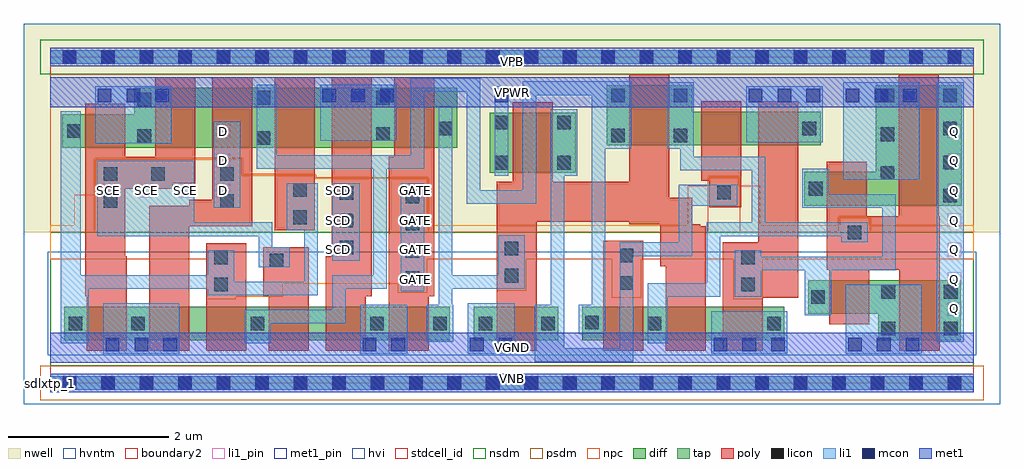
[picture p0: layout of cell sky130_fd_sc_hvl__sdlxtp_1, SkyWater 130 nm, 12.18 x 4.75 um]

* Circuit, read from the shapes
.subckt sky130_fd_sc_hvl__sdlxtp_1 D GATE Q SCD SCE VGND VNB VPB VPWR
XM1 VGND SCE n1 VNB sky130_fd_pr__nfet_g5v0d10v5 w=0.42 l=0.5
XM2 n2 D VGND VNB sky130_fd_pr__nfet_g5v0d10v5 w=0.42 l=0.5
XM3 n3 n1 n2 VNB sky130_fd_pr__nfet_g5v0d10v5 w=0.42 l=0.5
XM4 n4 SCE n3 VNB sky130_fd_pr__nfet_g5v0d10v5 w=0.42 l=0.5
XM5 VGND SCD n4 VNB sky130_fd_pr__nfet_g5v0d10v5 w=0.42 l=0.5
XM6 n5 GATE VGND VNB sky130_fd_pr__nfet_g5v0d10v5 w=0.42 l=0.5
XM7 n6 n5 VGND VNB sky130_fd_pr__nfet_g5v0d10v5 w=0.42 l=0.5
XM8 n7 n6 n3 VNB sky130_fd_pr__nfet_g5v0d10v5 w=0.42 l=0.5
XM9 n8 n5 n7 VNB sky130_fd_pr__nfet_g5v0d10v5 w=0.42 l=0.5
XM10 VGND n9 n8 VNB sky130_fd_pr__nfet_g5v0d10v5 w=0.42 l=0.5
XM11 VGND n7 n9 VNB sky130_fd_pr__nfet_g5v0d10v5 w=0.42 l=0.5
XM12 Q n7 VGND VNB sky130_fd_pr__nfet_g5v0d10v5 w=0.75 l=0.5
XM13 VPWR SCE n1 VPB sky130_fd_pr__pfet_g5v0d10v5 w=0.42 l=0.5
XM14 n10 SCE VPWR VPB sky130_fd_pr__pfet_g5v0d10v5 w=0.75 l=0.5
XM15 n3 D n10 VPB sky130_fd_pr__pfet_g5v0d10v5 w=0.75 l=0.5
XM16 n11 n1 n3 VPB sky130_fd_pr__pfet_g5v0d10v5 w=0.75 l=0.5
XM17 VPWR SCD n11 VPB sky130_fd_pr__pfet_g5v0d10v5 w=0.75 l=0.5
XM18 n5 GATE VPWR VPB sky130_fd_pr__pfet_g5v0d10v5 w=0.75 l=0.5
XM19 n6 n5 VPWR VPB sky130_fd_pr__pfet_g5v0d10v5 w=0.75 l=0.5
XM20 n7 n5 n3 VPB sky130_fd_pr__pfet_g5v0d10v5 w=0.75 l=0.5
XM21 n12 n6 n7 VPB sky130_fd_pr__pfet_g5v0d10v5 w=0.42 l=0.5
XM22 VPWR n9 n12 VPB sky130_fd_pr__pfet_g5v0d10v5 w=0.42 l=0.5
XM23 VPWR n7 n9 VPB sky130_fd_pr__pfet_g5v0d10v5 w=0.42 l=0.5
XM24 Q n7 VPWR VPB sky130_fd_pr__pfet_g5v0d10v5 w=1.5 l=0.5
.ends

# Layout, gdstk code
import gdstk
lib = gdstk.Library(unit=1e-6, precision=1e-09)
def R(c, l, rs):  # rectangles x0, y0, x1, y1
    for r in rs: c.add(gdstk.rectangle(r[:2], r[2:], *l))
def A(c, l, x, y, w, h, nx, ny, dx, dy):  # array of equal rectangles
    R(c, l, [(x+i*dx, y+j*dy, x+i*dx+w, y+j*dy+h) for i in range(nx) for j in range(ny)])
def P(c, l, *ps):  # polygons
    for p in ps: c.add(gdstk.Polygon(p, *l))
nwell = (64, 20)
diff = (65, 20)
tap = (65, 44)
poly = (66, 20)
licon = (66, 44)
li1_pin = (67, 16)
li1 = (67, 20)
mcon = (67, 44)
met1_pin = (68, 16)
met1 = (68, 20)
hvi = (75, 20)
stdcell_id = (81, 4)
nsdm = (93, 44)
psdm = (94, 20)
npc = (95, 20)
hvntm = (125, 20)
boundary2 = (236, 0)

sky130_fd_sc_hvl__sdlxtp = lib.new_cell('sky130_fd_sc_hvl__sdlxtp_1')
R(sky130_fd_sc_hvl__sdlxtp, nwell, [(-0.33,1.885,11.85,4.485)])
R(sky130_fd_sc_hvl__sdlxtp, diff, [(0.17,0.535,4.985,0.955), (5.285,0.535,6.335,0.955), (6.635,0.535,9.155,0.955), (5.485,2.625,6.555,3.375)])
P(sky130_fd_sc_hvl__sdlxtp, diff, [(5.075,3.685),(1.045,3.685),(1.045,3.355),(0.15,3.355),(0.15,2.935),(5.075,2.935)],
  [(9.615,3.385),(8.01,3.385),(8.01,3.715),(6.94,3.715),(6.94,2.965),(9.615,2.965)],
  [(11.36,1.285),(9.455,1.285),(9.455,0.865),(10.33,0.865),(10.33,0.535),(11.36,0.535)],
  [(11.37,3.715),(10.3,3.715),(10.3,2.635),(9.405,2.635),(9.405,2.215),(11.37,2.215)])
R(sky130_fd_sc_hvl__sdlxtp, tap, [(0,-0.085,11.52,0.085), (0,3.985,11.52,4.155)])
R(sky130_fd_sc_hvl__sdlxtp, poly, [(1.945,0.405,2.445,1.745), (6.9,0.405,7.4,1.775), (2.8,1.905,3.3,3.815)])
P(sky130_fd_sc_hvl__sdlxtp, poly, [(1.81,3.815),(1.31,3.815),(1.31,2.825),(0.935,2.825),(0.935,3.485),(0.435,3.485),(0.435,1.085),(0.455,1.085),(0.455,0.405),(0.955,0.405),(0.955,1.585),(0.935,1.585),(0.935,2.425),(1.525,2.425),(1.525,2.495),(1.81,2.495)],
  [(2.52,3.815),(2.02,3.815),(2.02,2.285),(1.735,2.285),(1.735,2.215),(1.235,2.215),(1.235,0.405),(1.735,0.405),(1.735,1.955),(2.52,1.955)],
  [(3.225,1.695),(2.655,1.695),(2.655,1.085),(2.725,1.085),(2.725,0.405),(3.225,0.405)],
  [(4.01,3.815),(3.51,3.815),(3.51,1.585),(3.435,1.585),(3.435,0.405),(3.935,0.405),(3.935,1.085),(4.01,1.085)],
  [(4.79,3.815),(4.29,3.815),(4.29,2.825),(4.22,2.825),(4.22,0.405),(4.72,0.405),(4.72,1.085),(4.79,1.085)],
  [(8.18,1.955),(8.11,1.955),(8.11,1.985),(8.01,1.985),(8.01,2.315),(7.725,2.315),(7.725,3.845),(7.225,3.845),(7.225,2.515),(6.27,2.515),(6.27,3.505),(5.77,3.505),(5.77,2.515),(5.57,2.515),(5.57,0.405),(6.07,0.405),(6.07,2.015),(7.225,2.015),(7.225,1.985),(7.61,1.985),(7.61,1.455),(7.68,1.455),(7.68,0.405),(8.18,0.405)],
  [(8.62,3.515),(8.12,3.515),(8.12,2.525),(8.22,2.525),(8.22,2.195),(8.62,2.195)],
  [(9.33,3.515),(8.83,3.515),(8.83,1.755),(8.39,1.755),(8.39,0.405),(8.89,0.405),(8.89,1.065),(9.33,1.065)],
  [(11.095,2.085),(11.085,2.085),(11.085,3.845),(10.585,3.845),(10.585,2.085),(10.19,2.085),(10.19,2.765),(9.69,2.765),(9.69,1.415),(9.72,1.415),(9.72,0.735),(10.22,0.735),(10.22,1.415),(10.595,1.415),(10.595,0.405),(11.095,0.405)])
A(sky130_fd_sc_hvl__sdlxtp, licon, 0.155, -0.085, 0.17, 0.17, 24, 2, 0.48, 4.07)
A(sky130_fd_sc_hvl__sdlxtp, licon, 1.01, 0.66, 0.17, 0.17, 3, 1, 1.49, 0)
A(sky130_fd_sc_hvl__sdlxtp, licon, 4.435, 1.225, 0.17, 0.17, 1, 4, 0, 0.34)
A(sky130_fd_sc_hvl__sdlxtp, licon, 3.61, 1.605, 0.17, 0.17, 1, 3, 0, 0.34)
A(sky130_fd_sc_hvl__sdlxtp, licon, 10.36, 2.535, 0.17, 0.17, 1, 3, 0, 0.485)
R(sky130_fd_sc_hvl__sdlxtp, licon, [(10.37,0.595,10.54,0.765), (11.15,0.595,11.32,0.765), (0.23,0.66,0.4,0.83), (4.775,0.66,4.945,0.83), (5.345,0.66,5.515,0.83), (6.125,0.66,6.295,0.83), (7.455,0.66,7.625,0.83), (8.945,0.66,9.115,0.83), (6.675,0.67,6.845,0.84), (9.495,0.99,9.665,1.16), (10.37,1.055,10.54,1.225), (11.15,1.055,11.32,1.225), (2.045,1.145,2.215,1.315), (8.62,1.145,8.79,1.315), (7.105,1.165,7.275,1.335), (5.67,1.255,5.84,1.425), (2.735,1.445,2.905,1.615), (2.045,1.485,2.215,1.655), (8.62,1.485,8.79,1.655), (7.105,1.505,7.275,1.675), (5.67,1.595,5.84,1.765), (9.95,1.795,10.12,1.965), (3.03,1.985,3.2,2.155), (0.665,2.185,0.835,2.355), (2.12,2.185,2.29,2.355), (11.14,2.255,11.31,2.425), (8.32,2.295,8.49,2.465), (3.03,2.325,3.2,2.495), (9.465,2.34,9.635,2.51), (0.665,2.525,0.835,2.695), (1.255,2.525,1.425,2.695), (2.12,2.525,2.29,2.695), (5.545,2.665,5.715,2.835), (6.325,2.665,6.495,2.835), (11.14,2.67,11.31,2.84), (2.575,2.975,2.745,3.145), (1.085,2.995,1.255,3.165), (7,3.005,7.17,3.175), (7.78,3.005,7.95,3.175), (4.065,3.025,4.235,3.195), (0.21,3.06,0.38,3.23), (4.845,3.09,5.015,3.26), (9.385,3.09,9.555,3.26), (11.14,3.09,11.31,3.26), (5.545,3.165,5.715,3.335), (6.325,3.165,6.495,3.335), (1.085,3.455,1.255,3.625), (2.575,3.475,2.745,3.645), (4.065,3.475,4.235,3.645), (7,3.505,7.17,3.675), (7.78,3.505,7.95,3.675), (11.14,3.505,11.31,3.675)])
A(sky130_fd_sc_hvl__sdlxtp, li1_pin, 11.195, 0.84, 0.17, 0.17, 1, 7, 0, 0.37)
A(sky130_fd_sc_hvl__sdlxtp, li1_pin, 4.475, 1.21, 0.17, 0.17, 1, 4, 0, 0.37)
A(sky130_fd_sc_hvl__sdlxtp, li1_pin, 3.515, 1.58, 0.17, 0.17, 1, 3, 0, 0.37)
A(sky130_fd_sc_hvl__sdlxtp, li1_pin, 0.635, 2.32, 0.17, 0.17, 4, 1, 0.48, 0)
R(sky130_fd_sc_hvl__sdlxtp, li1_pin, [(2.075,2.69,2.245,2.86), (2.075,3.06,2.245,3.23)])
R(sky130_fd_sc_hvl__sdlxtp, li1, [(0,-0.085,11.52,0.085), (0.66,0.365,1.61,0.995), (3.865,0.365,4.455,0.975), (5.205,0.365,5.795,0.995), (8.245,0.365,9.195,0.895), (9.925,0.365,10.875,1.225), (11.06,0.515,11.4,3.755), (4.37,1.145,4.665,2.495), (3.515,1.525,3.86,2.495), (2.04,2.185,2.37,3.26), (9.895,2.535,10.845,3.755), (5.545,2.585,5.715,3.705), (0.56,2.995,1.51,3.705), (8.685,3.005,9.635,3.705), (3.365,3.025,4.315,3.725), (0,3.985,11.52,4.155)])
P(sky130_fd_sc_hvl__sdlxtp, li1, [(2.985,1.695),(2.77,1.695),(2.77,2.005),(1.795,2.005),(1.795,2.775),(0.585,2.775),(0.585,1.835),(2.6,1.835),(2.6,1.445),(2.985,1.445)],
  [(3.335,2.495),(2.95,2.495),(2.95,1.905),(3.165,1.905),(3.165,1.265),(2.295,1.265),(2.295,1.655),(1.965,1.655),(1.965,1.345),(0.38,1.345),(0.38,3.395),(0.13,3.395),(0.13,0.495),(0.48,0.495),(0.48,1.175),(1.965,1.175),(1.965,1.095),(3.335,1.095)],
  [(5.92,1.845),(5.59,1.845),(5.59,1.345),(5.015,1.345),(5.015,3.455),(4.845,3.455),(4.845,0.975),(4.695,0.975),(4.695,0.515),(5.025,0.515),(5.025,0.975),(5.015,0.975),(5.015,1.175),(5.92,1.175)],
  [(7.25,3.765),(5.895,3.765),(5.895,2.405),(5.365,2.405),(5.365,3.805),(4.495,3.805),(4.495,2.845),(2.825,2.845),(2.825,3.725),(2.575,3.725),(2.575,2.675),(4.03,2.675),(4.03,1.345),(3.515,1.345),(3.515,0.915),(2.42,0.915),(2.42,0.495),(2.75,0.495),(2.75,0.745),(3.685,0.745),(3.685,1.175),(4.2,1.175),(4.2,2.675),(4.665,2.675),(4.665,3.635),(5.195,3.635),(5.195,2.235),(6.065,2.235),(6.065,3.595),(6.755,3.595),(6.755,0.975),(6.595,0.975),(6.595,0.615),(6.925,0.615),(6.925,2.925),(7.25,2.925)],
  [(8.57,2.475),(7.84,2.475),(7.84,1.755),(7.105,1.755),(7.105,0.435),(6.415,0.435),(6.415,2.585),(6.575,2.585),(6.575,3.415),(6.245,3.415),(6.245,0.975),(6.045,0.975),(6.045,0.265),(7.275,0.265),(7.275,1.585),(8.01,1.585),(8.01,2.215),(8.57,2.215)],
  [(10.2,2.005),(8.92,2.005),(8.92,2.825),(8.03,2.825),(8.03,3.755),(7.7,3.755),(7.7,2.925),(7.86,2.925),(7.86,2.655),(8.75,2.655),(8.75,2.005),(8.19,2.005),(8.19,1.245),(7.455,1.245),(7.455,0.495),(7.705,0.495),(7.705,1.075),(8.36,1.075),(8.36,1.835),(9.87,1.835),(9.87,1.755),(10.2,1.755)],
  [(10.55,2.355),(9.715,2.355),(9.715,2.675),(9.385,2.675),(9.385,2.185),(10.38,2.185),(10.38,1.575),(8.87,1.575),(8.87,1.655),(8.54,1.655),(8.54,1.075),(8.87,1.075),(8.87,1.405),(9.415,1.405),(9.415,0.845),(9.745,0.845),(9.745,1.405),(10.55,1.405)])
A(sky130_fd_sc_hvl__sdlxtp, mcon, 0.69, 0.395, 0.17, 0.17, 3, 1, 0.36, 0)
A(sky130_fd_sc_hvl__sdlxtp, mcon, 8.275, 0.395, 0.17, 0.17, 3, 1, 0.36, 0)
A(sky130_fd_sc_hvl__sdlxtp, mcon, 9.955, 0.395, 0.17, 0.17, 3, 1, 0.36, 0)
A(sky130_fd_sc_hvl__sdlxtp, mcon, 0.59, 3.505, 0.17, 0.17, 3, 1, 0.36, 0)
A(sky130_fd_sc_hvl__sdlxtp, mcon, 3.395, 3.505, 0.17, 0.17, 3, 1, 0.36, 0)
A(sky130_fd_sc_hvl__sdlxtp, mcon, 8.715, 3.505, 0.17, 0.17, 3, 1, 0.36, 0)
A(sky130_fd_sc_hvl__sdlxtp, mcon, 9.925, 3.505, 0.17, 0.17, 3, 1, 0.36, 0)
R(sky130_fd_sc_hvl__sdlxtp, mcon, [(0.155,-0.085,0.325,0.085), (0.155,-0.085,0.325,0.085), (0.635,-0.085,0.805,0.085), (0.635,-0.085,0.805,0.085), (1.115,-0.085,1.285,0.085), (1.115,-0.085,1.285,0.085), (1.595,-0.085,1.765,0.085), (1.595,-0.085,1.765,0.085), (2.075,-0.085,2.245,0.085), (2.075,-0.085,2.245,0.085), (2.555,-0.085,2.725,0.085), (2.555,-0.085,2.725,0.085), (3.035,-0.085,3.205,0.085), (3.035,-0.085,3.205,0.085), (3.515,-0.085,3.685,0.085), (3.515,-0.085,3.685,0.085), (3.995,-0.085,4.165,0.085), (3.995,-0.085,4.165,0.085), (4.475,-0.085,4.645,0.085), (4.475,-0.085,4.645,0.085), (4.955,-0.085,5.125,0.085), (4.955,-0.085,5.125,0.085), (5.435,-0.085,5.605,0.085), (5.435,-0.085,5.605,0.085), (5.915,-0.085,6.085,0.085), (5.915,-0.085,6.085,0.085), (6.395,-0.085,6.565,0.085), (6.395,-0.085,6.565,0.085), (6.875,-0.085,7.045,0.085), (6.875,-0.085,7.045,0.085), (7.355,-0.085,7.525,0.085), (7.355,-0.085,7.525,0.085), (7.835,-0.085,8.005,0.085), (7.835,-0.085,8.005,0.085), (8.315,-0.085,8.485,0.085), (8.315,-0.085,8.485,0.085), (8.795,-0.085,8.965,0.085), (8.795,-0.085,8.965,0.085), (9.275,-0.085,9.445,0.085), (9.275,-0.085,9.445,0.085), (9.755,-0.085,9.925,0.085), (9.755,-0.085,9.925,0.085), (10.235,-0.085,10.405,0.085), (10.235,-0.085,10.405,0.085), (10.715,-0.085,10.885,0.085), (10.715,-0.085,10.885,0.085), (11.195,-0.085,11.365,0.085), (11.195,-0.085,11.365,0.085), (3.895,0.395,4.065,0.565), (4.255,0.395,4.425,0.565), (5.235,0.395,5.405,0.565), (5.595,0.395,5.765,0.565), (5.545,3.505,5.715,3.675), (0.155,3.985,0.325,4.155), (0.155,3.985,0.325,4.155), (0.635,3.985,0.805,4.155), (0.635,3.985,0.805,4.155), (1.115,3.985,1.285,4.155), (1.115,3.985,1.285,4.155), (1.595,3.985,1.765,4.155), (1.595,3.985,1.765,4.155), (2.075,3.985,2.245,4.155), (2.075,3.985,2.245,4.155), (2.555,3.985,2.725,4.155), (2.555,3.985,2.725,4.155), (3.035,3.985,3.205,4.155), (3.035,3.985,3.205,4.155), (3.515,3.985,3.685,4.155), (3.515,3.985,3.685,4.155), (3.995,3.985,4.165,4.155), (3.995,3.985,4.165,4.155), (4.475,3.985,4.645,4.155), (4.475,3.985,4.645,4.155), (4.955,3.985,5.125,4.155), (4.955,3.985,5.125,4.155), (5.435,3.985,5.605,4.155), (5.435,3.985,5.605,4.155), (5.915,3.985,6.085,4.155), (5.915,3.985,6.085,4.155), (6.395,3.985,6.565,4.155), (6.395,3.985,6.565,4.155), (6.875,3.985,7.045,4.155), (6.875,3.985,7.045,4.155), (7.355,3.985,7.525,4.155), (7.355,3.985,7.525,4.155), (7.835,3.985,8.005,4.155), (7.835,3.985,8.005,4.155), (8.315,3.985,8.485,4.155), (8.315,3.985,8.485,4.155), (8.795,3.985,8.965,4.155), (8.795,3.985,8.965,4.155), (9.275,3.985,9.445,4.155), (9.275,3.985,9.445,4.155), (9.755,3.985,9.925,4.155), (9.755,3.985,9.925,4.155), (10.235,3.985,10.405,4.155), (10.235,3.985,10.405,4.155), (10.715,3.985,10.885,4.155), (10.715,3.985,10.885,4.155), (11.195,3.985,11.365,4.155), (11.195,3.985,11.365,4.155)])
R(sky130_fd_sc_hvl__sdlxtp, met1_pin, [(0,0,11.52,0.115), (0,0.255,11.52,0.625), (0,3.445,11.52,3.815), (0,3.955,11.52,4.07)])
R(sky130_fd_sc_hvl__sdlxtp, met1, [(0,-0.115,11.52,0.115), (0,0.255,11.52,0.625), (0,3.445,11.52,3.815), (0,3.955,11.52,4.185)])
R(sky130_fd_sc_hvl__sdlxtp, hvi, [(-0.33,-0.265,11.85,4.485)])
R(sky130_fd_sc_hvl__sdlxtp, stdcell_id, [(0,0,11.52,4.07)])
R(sky130_fd_sc_hvl__sdlxtp, nsdm, [(0,0.215,11.52,1.885), (-0.13,3.855,11.65,4.285), (0,3.855,11.52,4.07)])
R(sky130_fd_sc_hvl__sdlxtp, psdm, [(-0.13,-0.215,11.65,0.215)])
P(sky130_fd_sc_hvl__sdlxtp, psdm, [(11.52,3.855),(0,3.855),(0,1.885),(0.555,1.885),(0.555,2.805),(2.4,2.805),(2.4,2.605),(3.31,2.605),(3.31,2.565),(4.715,2.565),(4.715,1.885),(8.21,1.885),(8.21,2.575),(8.6,2.575),(8.6,1.885),(9.84,1.885),(9.84,2.075),(10.23,2.075),(10.23,1.885),(11.52,1.885)])
P(sky130_fd_sc_hvl__sdlxtp, npc, [(11.52,1.97),(10.22,1.97),(10.22,2.065),(9.85,2.065),(9.85,1.97),(8.855,1.97),(8.855,2.46),(8.59,2.46),(8.59,2.565),(8.22,2.565),(8.22,2.46),(7.955,2.46),(7.955,1.97),(4.705,1.97),(4.705,2.555),(3.3,2.555),(3.3,2.595),(2.39,2.595),(2.39,2.795),(0.565,2.795),(0.565,2.35),(0.3,2.35),(0.3,1.97),(0,1.97),(0,1.545),(1.945,1.545),(1.945,1.045),(2.315,1.045),(2.315,1.08),(2.9,1.08),(2.9,1.24),(4.335,1.24),(4.335,1.125),(4.705,1.125),(4.705,1.545),(5.57,1.545),(5.57,1.155),(5.94,1.155),(5.94,1.545),(7.005,1.545),(7.005,1.065),(7.375,1.065),(7.375,1.545),(8.52,1.545),(8.52,1.045),(8.89,1.045),(8.89,1.545),(11.52,1.545)])
R(sky130_fd_sc_hvl__sdlxtp, hvntm, [(-0.035,0.35,11.555,1.64)])
R(sky130_fd_sc_hvl__sdlxtp, boundary2, [(0,0,11.52,4.07)])
sky130_fd_sc_hvl__sdlxtp.add(gdstk.Label('sdlxtp_1', (0,0), layer=83, texttype=44))
sky130_fd_sc_hvl__sdlxtp.add(gdstk.Label('VGND', (5.76,0.44), layer=68, texttype=5))
sky130_fd_sc_hvl__sdlxtp.add(gdstk.Label('VNB', (5.76,0.058), layer=68, texttype=5))
sky130_fd_sc_hvl__sdlxtp.add(gdstk.Label('VPWR', (5.76,3.63), layer=68, texttype=5))
sky130_fd_sc_hvl__sdlxtp.add(gdstk.Label('VPB', (5.76,4.013), layer=68, texttype=5))
sky130_fd_sc_hvl__sdlxtp.add(gdstk.Label('D', (2.16,2.405), layer=67, texttype=5))
sky130_fd_sc_hvl__sdlxtp.add(gdstk.Label('D', (2.16,2.775), layer=67, texttype=5))
sky130_fd_sc_hvl__sdlxtp.add(gdstk.Label('D', (2.16,3.145), layer=67, texttype=5))
sky130_fd_sc_hvl__sdlxtp.add(gdstk.Label('SCE', (0.72,2.405), layer=67, texttype=5))
sky130_fd_sc_hvl__sdlxtp.add(gdstk.Label('SCE', (1.2,2.405), layer=67, texttype=5))
sky130_fd_sc_hvl__sdlxtp.add(gdstk.Label('SCE', (1.68,2.405), layer=67, texttype=5))
sky130_fd_sc_hvl__sdlxtp.add(gdstk.Label('SCD', (3.6,1.665), layer=67, texttype=5))
sky130_fd_sc_hvl__sdlxtp.add(gdstk.Label('SCD', (3.6,2.035), layer=67, texttype=5))
sky130_fd_sc_hvl__sdlxtp.add(gdstk.Label('SCD', (3.6,2.405), layer=67, texttype=5))
sky130_fd_sc_hvl__sdlxtp.add(gdstk.Label('GATE', (4.56,1.295), layer=67, texttype=5))
sky130_fd_sc_hvl__sdlxtp.add(gdstk.Label('GATE', (4.56,1.665), layer=67, texttype=5))
sky130_fd_sc_hvl__sdlxtp.add(gdstk.Label('GATE', (4.56,2.035), layer=67, texttype=5))
sky130_fd_sc_hvl__sdlxtp.add(gdstk.Label('GATE', (4.56,2.405), layer=67, texttype=5))
sky130_fd_sc_hvl__sdlxtp.add(gdstk.Label('Q', (11.28,0.925), layer=67, texttype=5))
sky130_fd_sc_hvl__sdlxtp.add(gdstk.Label('Q', (11.28,1.295), layer=67, texttype=5))
sky130_fd_sc_hvl__sdlxtp.add(gdstk.Label('Q', (11.28,1.665), layer=67, texttype=5))
sky130_fd_sc_hvl__sdlxtp.add(gdstk.Label('Q', (11.28,2.035), layer=67, texttype=5))
sky130_fd_sc_hvl__sdlxtp.add(gdstk.Label('Q', (11.28,2.405), layer=67, texttype=5))
sky130_fd_sc_hvl__sdlxtp.add(gdstk.Label('Q', (11.28,2.775), layer=67, texttype=5))
sky130_fd_sc_hvl__sdlxtp.add(gdstk.Label('Q', (11.28,3.145), layer=67, texttype=5))

lib.write_gds('sky130_fd_sc_hvl__sdlxtp_1.gds')
